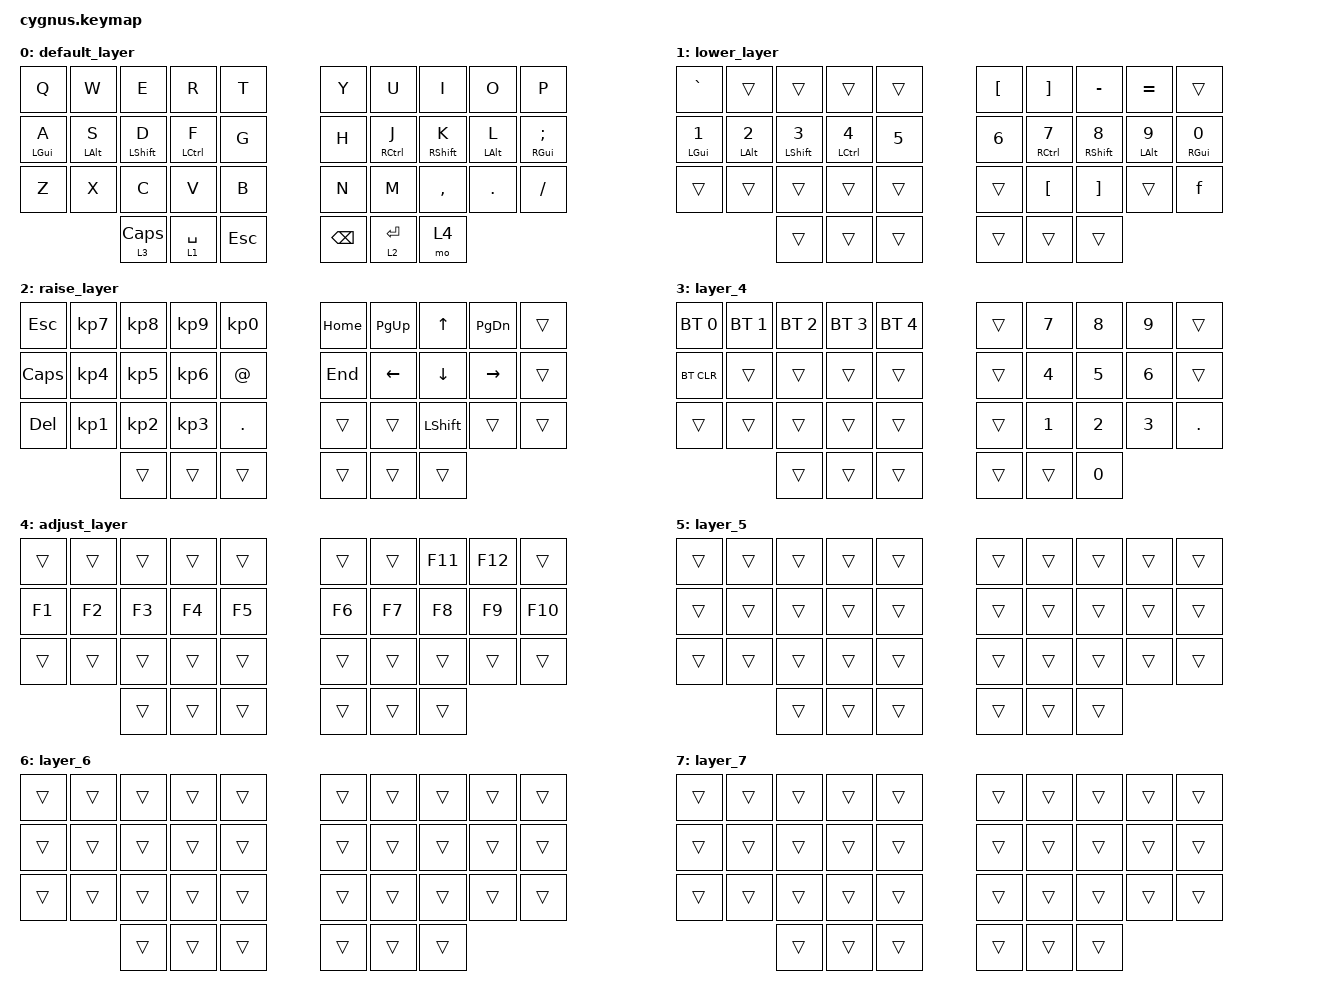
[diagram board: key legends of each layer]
/*
 * Copyright (c) 2020 The ZMK Contributors
 *
 * SPDX-License-Identifier: MIT
 */

#include <behaviors.dtsi>
#include <dt-bindings/zmk/bt.h>
#include <dt-bindings/zmk/keys.h>

&mt {
    tapping-term-ms = <200>;
    flavor = "tap-preferred";
};

&sk {
    release-after-ms = <2000>;
    quick-release;
};

&lt {
    tapping-term-ms = <110>;
    retro-tap;
};

/ {
    combos {
        compatible = "zmk,combos";

        left_bkt {
            bindings = <&kp LBKT>;
            key-positions = <3 2>;
            timeout-ms = <50>;
        };

        right_bkt {
            bindings = <&kp RBKT>;
            key-positions = <6 7>;
            timeout-ms = <50>;
        };

        left_brace {
            bindings = <&kp LPAR>;
            key-positions = <23 22>;
            timeout-ms = <50>;
        };

        right_brace {
            bindings = <&kp RIGHT_PARENTHESIS>;
            key-positions = <26 27>;
            timeout-ms = <50>;
        };

        tab {
            bindings = <&kp TAB>;
            key-positions = <1 2>;
        };

        one {
            bindings = <&kp BACKSLASH>;
            key-positions = <8 7>;
        };

        caps {
            bindings = <&kp CAPS>;
            key-positions = <21 22>;
        };

        dot {
            bindings = <&kp APOS>;
            key-positions = <28 27>;
        };
    };

    behaviors {
        gqt: global-quick-tap {
            compatible = "zmk,behavior-hold-tap";
            label = "GLOBAL_QUICK_TAP";
            bindings = <&kp>, <&kp>;

            #binding-cells = <2>;
            quick-tap-ms = <200>;
            tapping-term-ms = <250>;
            global-quick-tap;
        };

        ltq: ltq {
            compatible = "zmk,behavior-hold-tap";
            label = "LTQ";
            bindings = <&mo>, <&kp>;

            #binding-cells = <2>;
            tapping-term-ms = <250>;
            global-quick-tap;
            quick-tap-ms = <200>;
        };

        bhm: balanced_homerow_mods {
            compatible = "zmk,behavior-hold-tap";
            label = "HOMEROW_MODS";
            bindings = <&kp>, <&kp>;

            #binding-cells = <2>;
            tapping-term-ms = <150>;
            quick-tap-ms = <200>;
            flavor = "tap-preferred";
        };
    };

    macros {
        f: f {
            compatible = "zmk,behavior-macro";
            #binding-cells = <0>;
            bindings = <&kp COLON &kp EQUAL>;
            label = "F";
        };
    };

    keymap {
        compatible = "zmk,keymap";

        default_layer {
            bindings = <
&kp Q                    &kp W                     &kp E                     &kp R         &kp T          &kp Y                &kp U         &kp I         &kp O        &kp P
&bhm LGUI A              &bhm LALT S               &bhm LSHFT D              &bhm LCTRL F  &kp G          &kp H                &bhm RCTRL J  &bhm RSHFT K  &bhm LALT L  &bhm RIGHT_GUI SEMICOLON
&kp Z                    &kp X                     &kp C                     &kp V         &kp B          &kp N                &kp M         &kp COMMA     &kp PERIOD   &kp FSLH
             &lt 3 CAPS               &lt 1 SPACE                &kp ESCAPE                &kp BACKSPACE  &ltq 2 ENTER  &mo 4
            >;
        };

        lower_layer {
            bindings = <
&kp GRAVE                 &trans                &trans                  &trans         &trans  &kp LBKT          &kp RBKT          &kp MINUS          &kp EQUAL     &trans
&bhm LEFT_GUI N1          &bhm LALT N2          &bhm LSHIFT N3          &bhm LCTRL N4  &kp N5  &kp N6            &bhm RCTRL N7     &bhm RSHIFT N8     &bhm LALT N9  &bhm RGUI N0
&trans                    &trans                &trans                  &trans         &trans  &trans            &kp LEFT_BRACKET  &kp RIGHT_BRACKET  &trans        &f
                  &trans                &trans                  &trans                 &trans  &trans    &trans
            >;
        };

        raise_layer {
            bindings = <
&kp ESC               &kp KP_NUMBER_7          &kp KP_NUMBER_8          &kp KP_NUMBER_9  &kp KP_NUMBER_0  &kp HOME          &kp PAGE_UP     &kp UP          &kp PAGE_DOWN  &trans
&kp CAPSLOCK          &kp KP_NUMBER_4          &kp KP_NUMBER_5          &kp KP_NUMBER_6  &kp AT           &kp END           &kp LEFT_ARROW  &kp DOWN        &kp RIGHT      &trans
&kp DEL               &kp KP_N1                &kp KP_NUMBER_2          &kp KP_NUMBER_3  &kp DOT          &trans            &trans          &kp LEFT_SHIFT  &trans         &trans
              &trans                   &trans                   &trans                   &trans           &trans    &trans
            >;
        };

        layer_4 {
            bindings = <
&bt BT_SEL 0          &bt BT_SEL 1          &bt BT_SEL 2          &bt BT_SEL 3  &bt BT_SEL 4  &trans          &kp N7  &kp N8  &kp N9  &trans
&bt BT_CLR            &trans                &trans                &trans        &trans        &trans          &kp N4  &kp N5  &kp N6  &trans
&trans                &trans                &trans                &trans        &trans        &trans          &kp N1  &kp N2  &kp N3  &kp DOT
              &trans                &trans                &trans                &trans        &trans  &kp N0
            >;
        };

        adjust_layer {
            bindings = <
&trans          &trans          &trans          &trans  &trans  &trans          &trans  &kp F11  &kp F12  &trans
&kp F1          &kp F2          &kp F3          &kp F4  &kp F5  &kp F6          &kp F7  &kp F8   &kp F9   &kp F10
&trans          &trans          &trans          &trans  &trans  &trans          &trans  &trans   &trans   &trans
        &trans          &trans          &trans          &trans  &trans  &trans
            >;
        };

        layer_5 {
            bindings = <
&trans          &trans          &trans          &trans  &trans  &trans          &trans  &trans  &trans  &trans
&trans          &trans          &trans          &trans  &trans  &trans          &trans  &trans  &trans  &trans
&trans          &trans          &trans          &trans  &trans  &trans          &trans  &trans  &trans  &trans
        &trans          &trans          &trans          &trans  &trans  &trans
            >;
        };

        layer_6 {
            bindings = <
&trans          &trans          &trans          &trans  &trans  &trans          &trans  &trans  &trans  &trans
&trans          &trans          &trans          &trans  &trans  &trans          &trans  &trans  &trans  &trans
&trans          &trans          &trans          &trans  &trans  &trans          &trans  &trans  &trans  &trans
        &trans          &trans          &trans          &trans  &trans  &trans
            >;
        };

        layer_7 {
            bindings = <
&trans          &trans          &trans          &trans  &trans  &trans          &trans  &trans  &trans  &trans
&trans          &trans          &trans          &trans  &trans  &trans          &trans  &trans  &trans  &trans
&trans          &trans          &trans          &trans  &trans  &trans          &trans  &trans  &trans  &trans
        &trans          &trans          &trans          &trans  &trans  &trans
            >;
        };
    };
};
